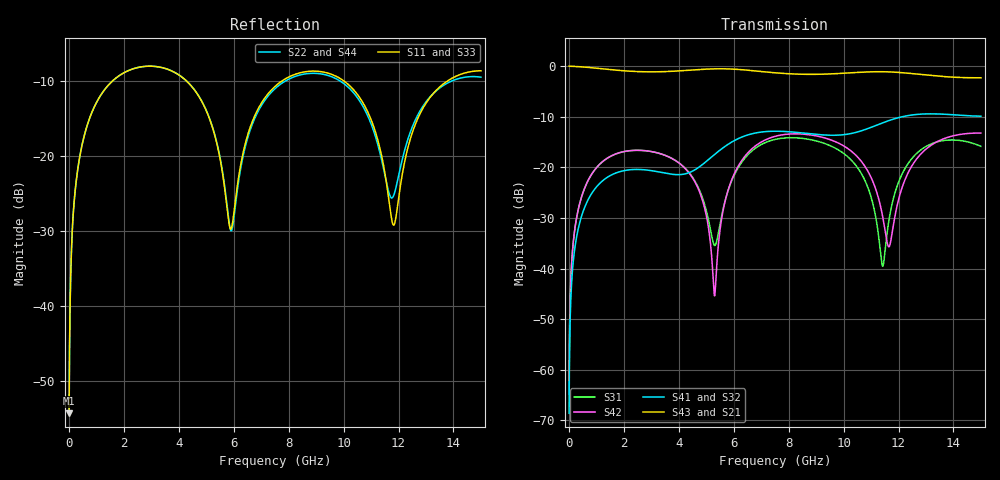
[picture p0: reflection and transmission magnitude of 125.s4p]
! Created with skrf 1.8.0 (http://scikit-rf.org).
# GHz S RI R 50.0
!freq ReS11 ImS11 ReS12 ImS12 ReS13 ImS13
! ReS14 ImS14
! ReS21 ImS21 ReS22 ImS22 ReS23 ImS23
! ReS24 ImS24
! ReS31 ImS31 ReS32 ImS32 ReS33 ImS33
! ReS34 ImS34
! ReS41 ImS41 ReS42 ImS42 ReS43 ImS43
! ReS44 ImS44
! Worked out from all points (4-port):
!   2499 points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, 5 MHz to 15 GHz, reference 50 ohm
!   strongest paths, dB at 5 MHz, 3.476 GHz, 7.19 GHz, 11.1 GHz, 15 GHz:
!     S43: 0.0, -1.1, -1.2, -1.1, -2.3
!     S21: 0.0, -1.1, -1.2, -1.1, -2.3
!     S41: -68.6, -21.1, -12.9, -11.9, -9.9
!     S32: -68.6, -21.1, -12.9, -11.9, -9.9
!     S42: -64.7, -17.6, -14.5, -23.2, -13.2
!     S31: -64.7, -17.6, -15.0, -27.9, -15.8
!   lowest |S11| = -54.3 dB at 5 MHz (marker M1), VSWR 1.00, Z = 50.2 + j0.117 ohm
!   |S11| at or under -10 dB: start of sweep to 1.584 GHz; 4.28 GHz to 7.754 GHz (3.473 GHz wide, 57.7 % of centre); 10.01 GHz to 13.78 GHz (3.768 GHz wide, 31.7 % of centre)
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0.005  0.00152 0.00116  0.9984 -0.00297  7.52e-05 0.000575  -7.32e-05 -0.000365
       0.9984 -0.00297  0.00152 0.00116  -7.32e-05 -0.000365  7.52e-05 0.000575
       7.52e-05 0.000575  -7.32e-05 -0.000365  0.00152 0.00116  0.9984 -0.00297
       -7.32e-05 -0.000365  7.52e-05 0.000575  0.9984 -0.00297  0.00152 0.00116
0.3126303  0.0212 0.077  0.9711 -0.1851  0.0092 0.0344  -0.00772 -0.0217
           0.9711 -0.1851  0.0212 0.077  -0.00772 -0.0217  0.00922 0.0344
           0.0092 0.0344  -0.00772 -0.0217  0.0212 0.077  0.9711 -0.1851
           -0.00772 -0.0217  0.00922 0.0344  0.9711 -0.1851  0.0212 0.077
1.519383  0.2429 0.1895  0.6086 -0.6935  0.1113 0.0648  -0.0819 -0.0156
          0.6086 -0.6935  0.2427 0.1896  -0.082 -0.0156  0.1115 0.0646
          0.1113 0.0648  -0.082 -0.0156  0.2429 0.1894  0.6086 -0.6935
          -0.0819 -0.0156  0.1115 0.0646  0.6086 -0.6935  0.2427 0.1896
5.302209  0.0689 -0.1202  -0.8664 -0.3637  -0.0162 -0.00485  -0.0482 0.1251
          -0.8664 -0.3637  0.0693 -0.1218  -0.0478 0.1252  -0.00531 -0.000807
          -0.0162 -0.00485  -0.0478 0.1252  0.0686 -0.119  -0.8667 -0.3634
          -0.0482 0.1251  -0.00531 -0.000807  -0.8667 -0.3634  0.0686 -0.1207
9.222593  0.3586 -0.0633  0.0372 0.8313  0.1628 -0.0648  0.1926 -0.082
          0.0372 0.8313  0.3484 -0.048  0.1923 -0.0827  0.1632 -0.1126
          0.1628 -0.0648  0.1923 -0.0827  0.3591 -0.0641  0.0364 0.831
          0.1926 -0.082  0.1632 -0.1126  0.0364 0.831  0.3494 -0.0466
11.42351  0.0499 -0.0781  0.8206 0.3173  0.0105 -0.000717  0.0907 -0.2599
          0.8206 0.3173  0.064 -0.0599  0.0898 -0.2602  -0.0224 -0.0237
          0.0105 -0.000717  0.0898 -0.2602  0.0474 -0.0774  0.8204 0.3183
          0.0907 -0.2599  -0.0224 -0.0237  0.8204 0.3183  0.0659 -0.0575
15  0.3698 -0.0145  0.0869 -0.7639  0.1405 -0.0795  -0.3185 0.0286
    0.0869 -0.7639  0.3349 -0.018  -0.319 0.0311  0.137 -0.1696
    0.1405 -0.0795  -0.319 0.0311  0.3741 -0.0089  0.0903 -0.7616
    -0.3185 0.0286  0.137 -0.1696  0.0903 -0.7616  0.3408 -0.0199
